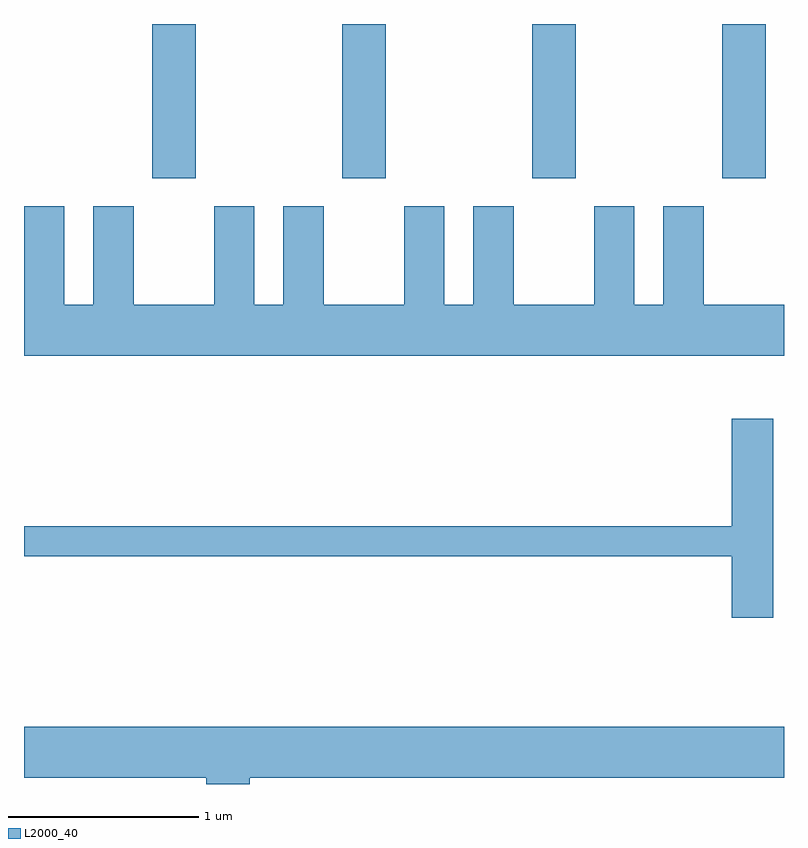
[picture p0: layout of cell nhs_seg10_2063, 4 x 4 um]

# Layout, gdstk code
import gdstk
lib = gdstk.Library(unit=1e-6, precision=1e-09)
def R(c, l, rs):  # rectangles x0, y0, x1, y1
    for r in rs: c.add(gdstk.rectangle(r[:2], r[2:], *l))
def A(c, l, x, y, w, h, nx, ny, dx, dy):  # array of equal rectangles
    R(c, l, [(x+i*dx, y+j*dy, x+i*dx+w, y+j*dy+h) for i in range(nx) for j in range(ny)])
def P(c, l, *ps):  # polygons
    for p in ps: c.add(gdstk.Polygon(p, *l))
L2000_40 = (2000, 40)

nhs_seg10_2063 = lib.new_cell('nhs_seg10_2063')
A(nhs_seg10_2063, L2000_40, 246.286, 2143.711, 0.228, 0.811, 4, 1, 1, 0)
P(nhs_seg10_2063, L2000_40, [(249.611,2143.044),(249.189,2143.044),(249.189,2143.564),(248.976,2143.564),(248.976,2143.044),(248.824,2143.044),(248.824,2143.564),(248.611,2143.564),(248.611,2143.044),(248.189,2143.044),(248.189,2143.564),(247.976,2143.564),(247.976,2143.044),(247.824,2143.044),(247.824,2143.564),(247.611,2143.564),(247.611,2143.044),(247.189,2143.044),(247.189,2143.564),(246.976,2143.564),(246.976,2143.044),(246.824,2143.044),(246.824,2143.564),(246.611,2143.564),(246.611,2143.044),(246.189,2143.044),(246.189,2143.564),(245.976,2143.564),(245.976,2143.044),(245.824,2143.044),(245.824,2143.564),(245.611,2143.564),(245.611,2142.776),(249.611,2142.776)],
  [(249.554,2142.444),(249.336,2142.444),(249.336,2141.879),(245.611,2141.879),(245.611,2141.721),(249.336,2141.721),(249.336,2141.396),(249.554,2141.396)],
  [(246.799,2140.556),(249.611,2140.556),(249.611,2140.824),(245.611,2140.824),(245.611,2140.556),(246.571,2140.556),(246.571,2140.522),(246.799,2140.522)])

lib.write_gds('nhs_seg10_2063.gds')
